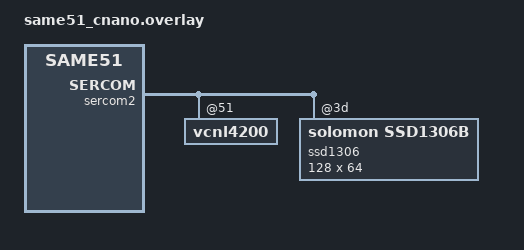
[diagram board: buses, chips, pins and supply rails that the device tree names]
#include <dt-bindings/sam/sam_d5x_e5x/atsame51/atsame51j20a-pinctrl.h>
#include <zephyr/dt-bindings/i2c/i2c.h>

/{
    chosen {
        zephyr,display = &ssd1306;
    };
};

&sercom2 {
    vcnl4200: vcnl4200@51 {
        reg = <0x51>;
    };

    ssd1306: ssd1306@3d {
        status = "okay";
        compatible = "solomon,ssd1306b";
        reg = <0x3d>;
        segment-offset = <0>;
        page-offset = <0>;
        display-offset = <0>;
        multiplex-ratio = <63>;
        prechargep = <0x22>;
        height = <64>;
        width = <128>;
        segment-remap;
        com-invdir;
    };
};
